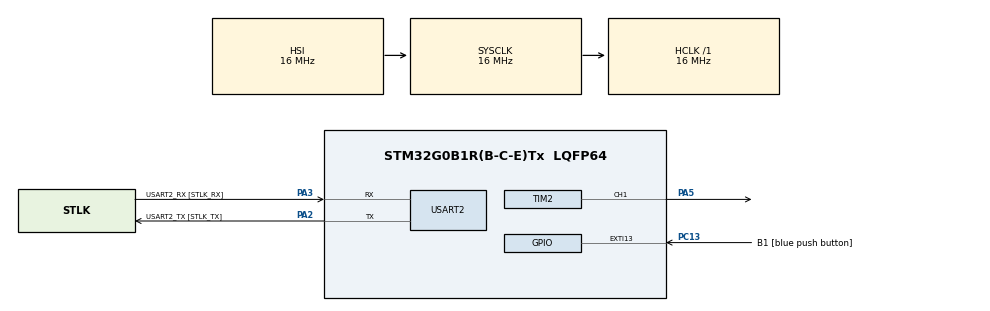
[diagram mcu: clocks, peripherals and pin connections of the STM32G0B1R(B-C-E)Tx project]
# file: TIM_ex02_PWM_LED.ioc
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Mcu.Family=STM32G0
Mcu.Name=STM32G0B1R(B-C-E)Tx
Mcu.Package=LQFP64
PA13.GPIO_Label=TMS
PA13.Mode=Serial_Wire
PA13.Signal=SYS_SWDIO
PA14-BOOT0.GPIO_Label=TCK
PA14-BOOT0.Mode=Serial_Wire
PA14-BOOT0.Signal=SYS_SWCLK
PA2.GPIO_Label=USART2_TX [STLK_TX]
PA2.Mode=Asynchronous
PA2.Signal=USART2_TX
PA3.GPIO_Label=USART2_RX [STLK_RX]
PA3.Mode=Asynchronous
PA3.Signal=USART2_RX
PA5.Signal=S_TIM2_CH1_ETR
PC13.GPIO_Label=B1 [blue push button]
PC13.Signal=GPXTI13
PC14-OSC32_IN\ (PC14).Mode=LSE-External-Oscillator
PC14-OSC32_IN\ (PC14).Signal=RCC_OSC32_IN
PC15-OSC32_OUT\ (PC15).Mode=LSE-External-Oscillator
PC15-OSC32_OUT\ (PC15).Signal=RCC_OSC32_OUT
PF0-OSC_IN\ (PF0).GPIO_Label=MCO
PF0-OSC_IN\ (PF0).Mode=HSE-External-Clock-Source
PF0-OSC_IN\ (PF0).Signal=RCC_OSC_IN
ProjectManager.HeapSize=0x200
ProjectManager.StackSize=0x400
ProjectManager.TargetToolchain=STM32CubeIDE
RCC.AHBFreq_Value=16000000
RCC.CortexFreq_Value=16000000
RCC.EXTERNAL_CLOCK_VALUE=12288000
RCC.HCLKFreq_Value=16000000
RCC.HSE_VALUE=8000000
RCC.HSI48_VALUE=48000000
RCC.HSI_VALUE=16000000
RCC.SYSCLKFreq_VALUE=16000000
RCC.USBFreq_Value=48000000
RCC.VCOOutputFreq_Value=128000000
SH.S_TIM2_CH1_ETR.0=TIM2_CH1,PWM Generation1 CH1
TIM2.Channel-PWM\ Generation1\ CH1=TIM_CHANNEL_1
TIM2.Period=999
TIM2.Prescaler=15999
USART2.VirtualMode-Asynchronous=VM_ASYNC
VP_SYS_VS_DBSignals.Mode=DisableDeadBatterySignals
VP_TIM2_VS_ClockSourceINT.Mode=Internal
board=NUCLEO-G0B1RE

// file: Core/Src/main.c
/* USER CODE BEGIN Header */
/**
  ******************************************************************************
  * @file           : main.c
  * @brief          : Main program body
  ******************************************************************************
  * @attention
  *
  * Copyright (c) 2026 STMicroelectronics.
  * All rights reserved.
  *
  * This software is licensed under terms that can be found in the LICENSE file
  * in the root directory of this software component.
  * If no LICENSE file comes with this software, it is provided AS-IS.
  *
  ******************************************************************************
  */
/* USER CODE END Header */
#include "main.h"

TIM_HandleTypeDef htim2;

UART_HandleTypeDef huart2;

void SystemClock_Config(void);
static void MX_GPIO_Init(void);
static void MX_USART2_UART_Init(void);
static void MX_TIM2_Init(void);

/* USER CODE BEGIN 0 */
int __io_putchar (int ch){
	HAL_UART_Transmit(&huart2, (uint8_t*)&ch, 1, HAL_MAX_DELAY);
	return ch;
}
int _write(int file, char *ptr, int len){
	HAL_UART_Transmit(&huart2, (uint8_t*)ptr, len, HAL_MAX_DELAY);
	return len;
}

/* USER CODE END 0 */

int main(void)
{

  /* MCU Configuration--------------------------------------------------------*/

  /* Reset of all peripherals, Initializes the Flash interface and the Systick. */
  HAL_Init();

  /* Configure the system clock */
  SystemClock_Config();

  /* Initialize all configured peripherals */
  MX_GPIO_Init();
  MX_USART2_UART_Init();
  MX_TIM2_Init();
  /* USER CODE BEGIN 2 */
  HAL_TIM_PWM_Start(&htim2, TIM_CHANNEL_1);
  /* USER CODE END 2 */

  /* Infinite loop */
  /* USER CODE BEGIN WHILE */
  while (1)
  {
	  printf("\nWhile Loop\r\n\n");

	  printf("Compare : 250\r\n");
	  __HAL_TIM_SET_COMPARE(&htim2, TIM_CHANNEL_1, 250);
	  HAL_Delay(1000);

	  printf("Compare : 500\r\n");
	  __HAL_TIM_SET_COMPARE(&htim2, TIM_CHANNEL_1, 500);
	  HAL_Delay(1000);

	  printf("Compare : 750\r\n");
	  __HAL_TIM_SET_COMPARE(&htim2, TIM_CHANNEL_1, 750);
	  HAL_Delay(1000);

	  printf("Compare : 1000\r\n");
	  __HAL_TIM_SET_COMPARE(&htim2, TIM_CHANNEL_1, 1000);
	  HAL_Delay(1000);

    /* USER CODE END WHILE */

  }
}

void SystemClock_Config(void)
{
  RCC_OscInitTypeDef RCC_OscInitStruct = {0};
  RCC_ClkInitTypeDef RCC_ClkInitStruct = {0};

  /** Configure the main internal regulator output voltage
  */
  HAL_PWREx_ControlVoltageScaling(PWR_REGULATOR_VOLTAGE_SCALE1);

  /** Initializes the RCC Oscillators according to the specified parameters
  * in the RCC_OscInitTypeDef structure.
  */
  RCC_OscInitStruct.OscillatorType = RCC_OSCILLATORTYPE_HSI;
  RCC_OscInitStruct.HSIState = RCC_HSI_ON;
  RCC_OscInitStruct.HSIDiv = RCC_HSI_DIV1;
  RCC_OscInitStruct.HSICalibrationValue = RCC_HSICALIBRATION_DEFAULT;
  RCC_OscInitStruct.PLL.PLLState = RCC_PLL_NONE;
  if (HAL_RCC_OscConfig(&RCC_OscInitStruct) != HAL_OK)
  {
    Error_Handler();
  }

  /** Initializes the CPU, AHB and APB buses clocks
  */
  RCC_ClkInitStruct.ClockType = RCC_CLOCKTYPE_HCLK|RCC_CLOCKTYPE_SYSCLK
                              |RCC_CLOCKTYPE_PCLK1;
  RCC_ClkInitStruct.SYSCLKSource = RCC_SYSCLKSOURCE_HSI;
  RCC_ClkInitStruct.AHBCLKDivider = RCC_SYSCLK_DIV1;
  RCC_ClkInitStruct.APB1CLKDivider = RCC_HCLK_DIV1;

  if (HAL_RCC_ClockConfig(&RCC_ClkInitStruct, FLASH_LATENCY_0) != HAL_OK)
  {
    Error_Handler();
  }
}

static void MX_TIM2_Init(void)
{

  TIM_ClockConfigTypeDef sClockSourceConfig = {0};
  TIM_MasterConfigTypeDef sMasterConfig = {0};
  TIM_OC_InitTypeDef sConfigOC = {0};

  htim2.Instance = TIM2;
  htim2.Init.Prescaler = 1;
  htim2.Init.CounterMode = TIM_COUNTERMODE_UP;
  htim2.Init.Period = 999;
  htim2.Init.ClockDivision = TIM_CLOCKDIVISION_DIV1;
  htim2.Init.AutoReloadPreload = TIM_AUTORELOAD_PRELOAD_DISABLE;
  if (HAL_TIM_Base_Init(&htim2) != HAL_OK)
  {
    Error_Handler();
  }
  sClockSourceConfig.ClockSource = TIM_CLOCKSOURCE_INTERNAL;
  if (HAL_TIM_ConfigClockSource(&htim2, &sClockSourceConfig) != HAL_OK)
  {
    Error_Handler();
  }
  if (HAL_TIM_PWM_Init(&htim2) != HAL_OK)
  {
    Error_Handler();
  }
  sMasterConfig.MasterOutputTrigger = TIM_TRGO_RESET;
  sMasterConfig.MasterSlaveMode = TIM_MASTERSLAVEMODE_DISABLE;
  if (HAL_TIMEx_MasterConfigSynchronization(&htim2, &sMasterConfig) != HAL_OK)
  {
    Error_Handler();
  }
  sConfigOC.OCMode = TIM_OCMODE_PWM1;
  sConfigOC.Pulse = 0;
  sConfigOC.OCPolarity = TIM_OCPOLARITY_HIGH;
  sConfigOC.OCFastMode = TIM_OCFAST_DISABLE;
  if (HAL_TIM_PWM_ConfigChannel(&htim2, &sConfigOC, TIM_CHANNEL_1) != HAL_OK)
  {
    Error_Handler();
  }
  HAL_TIM_MspPostInit(&htim2);

}

static void MX_USART2_UART_Init(void)
{

  huart2.Instance = USART2;
  huart2.Init.BaudRate = 115200;
  huart2.Init.WordLength = UART_WORDLENGTH_8B;
  huart2.Init.StopBits = UART_STOPBITS_1;
  huart2.Init.Parity = UART_PARITY_NONE;
  huart2.Init.Mode = UART_MODE_TX_RX;
  huart2.Init.HwFlowCtl = UART_HWCONTROL_NONE;
  huart2.Init.OverSampling = UART_OVERSAMPLING_16;
  huart2.Init.OneBitSampling = UART_ONE_BIT_SAMPLE_DISABLE;
  huart2.Init.ClockPrescaler = UART_PRESCALER_DIV1;
  huart2.AdvancedInit.AdvFeatureInit = UART_ADVFEATURE_NO_INIT;
  if (HAL_UART_Init(&huart2) != HAL_OK)
  {
    Error_Handler();
  }
  if (HAL_UARTEx_SetTxFifoThreshold(&huart2, UART_TXFIFO_THRESHOLD_1_8) != HAL_OK)
  {
    Error_Handler();
  }
  if (HAL_UARTEx_SetRxFifoThreshold(&huart2, UART_RXFIFO_THRESHOLD_1_8) != HAL_OK)
  {
    Error_Handler();
  }
  if (HAL_UARTEx_DisableFifoMode(&huart2) != HAL_OK)
  {
    Error_Handler();
  }

}

static void MX_GPIO_Init(void)
{
  GPIO_InitTypeDef GPIO_InitStruct = {0};

  /* GPIO Ports Clock Enable */
  __HAL_RCC_GPIOC_CLK_ENABLE();
  __HAL_RCC_GPIOF_CLK_ENABLE();
  __HAL_RCC_GPIOA_CLK_ENABLE();

  /*Configure GPIO pin : B1_Pin */
  GPIO_InitStruct.Pin = B1_Pin;
  GPIO_InitStruct.Mode = GPIO_MODE_IT_RISING;
  GPIO_InitStruct.Pull = GPIO_NOPULL;
  HAL_GPIO_Init(B1_GPIO_Port, &GPIO_InitStruct);

}

void Error_Handler(void)
{
  __disable_irq();
  while (1)
  {
  }
}
